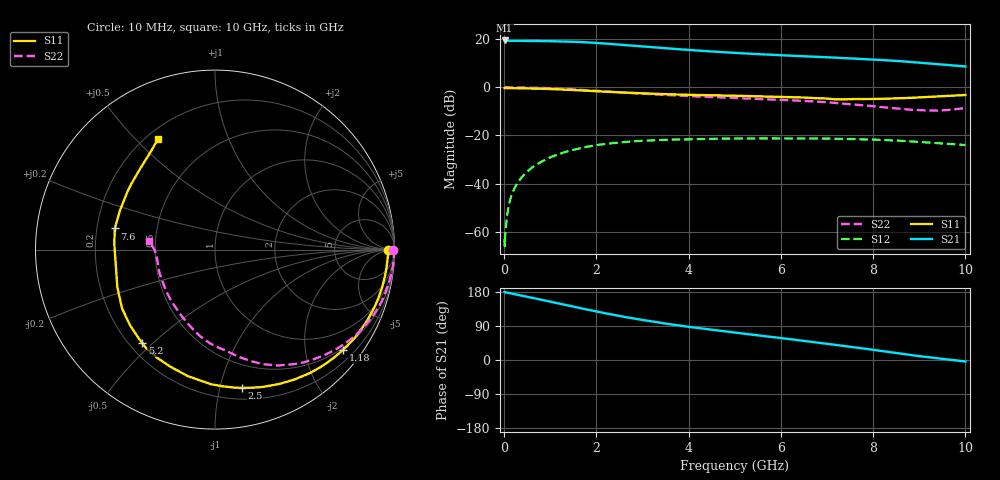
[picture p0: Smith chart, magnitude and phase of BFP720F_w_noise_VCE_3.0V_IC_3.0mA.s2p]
! Infineon Technologies  Discrete & RF Semiconductors
! BFP720F
! VCE =  3.0 V,  IC =  3.0 mA
! Common Emitter S-Parameters:  Jan 2016
# GHz  S  MA  R  50
!  f  S11  S21  S12  S22
! GHz  MAG  ANG  MAG  ANG  MAG  ANG  MAG  ANG
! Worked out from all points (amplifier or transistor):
!   233 points, 10 MHz to 10 GHz, reference 50 ohm
!   highest |S21| = 19.5 dB at 10 MHz (marker M1)
!   |S21| within 3 dB of that: start of sweep to 3.343 GHz
!   unconditionally stable (mu >= 1): 8.685 GHz to end of sweep
!   at 200 MHz: K = 0.03, MSG = 31.1 dB, |S12| = -43.0 dB
!   at 1.74 GHz: K = 0.17, MSG = 21.8 dB, |S12| = -24.9 dB
!   at 10 GHz: K = 1.18, MAG = 13.8 dB, |S12| = -24.0 dB
!   lowest NFmin = 0.40 dB at 450 MHz
!   S11 on the Smith chart (normalised r, x): 10 MHz: 51, +0; 1.18 GHz: 0.46, -2.84; 2.5 GHz: 0.29, -1.17; 5.2 GHz: 0.25, -0.46; 7.6 GHz: 0.28, +0.10; 10 GHz: 0.25, +0.58
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0.01  0.9612 0.0  9.396 179.4  0.0007 -16.7  0.9943 -0.1
0.015  0.9628 -0.3  9.268 178.6  0.0005 38.1  0.9971 -0.6
0.02  0.9644 -0.6  9.142 177.8  0.0008 83.7  1 -1.1
0.05  0.9649 -1.7  9.244 178.2  0.0016 82.2  0.9973 -1.2
0.11  0.9626 -3.5  9.248 176.7  0.0039 86.9  0.9979 -2.4
0.28  0.9584 -8.8  9.226 172.4  0.0099 83.8  0.9936 -6.1
0.8  0.9346 -25.6  9.181 159.1  0.0282 72.5  0.9709 -17.7
1.18  0.9061 -38.0  8.991 149.2  0.0408 63.8  0.9397 -26.3
1.68  0.8593 -54.7  8.695 136.0  0.0552 52.5  0.8842 -37.4
2.02  0.8265 -65.3  8.321 127.4  0.0632 45.1  0.8432 -44.5
2.5  0.7846 -79.0  7.683 116.2  0.0715 35.4  0.7872 -53.6
2.96  0.7526 -90.6  7.107 106.4  0.077 27.6  0.7394 -60.7
3.4  0.7253 -99.9  6.591 98.0  0.0803 21.1  0.7007 -66.0
4  0.6983 -110.8  5.978 87.5  0.0835 13.4  0.6563 -71.7
5.1  0.6639 -126.6  5.125 71.0  0.0863 1.9  0.5922 -80.0
5.2  0.6595 -127.9  5.061 69.5  0.0864 0.9  0.5866 -80.8
6  0.6333 -138.6  4.632 57.9  0.087 -6.4  0.549 -87.4
6.8  0.5923 -154.3  4.284 45.8  0.0862 -13.8  0.5019 -97.0
7.6  0.5705 168.1  3.938 33.4  0.0837 -21.1  0.438 -110.4
8.4  0.5842 146.8  3.589 20.1  0.0792 -28.4  0.3717 -132.3
9  0.6163 132.1  3.256 10.1  0.0733 -33.2  0.3364 -156.6
10  0.6915 117.4  2.709 -3.9  0.0631 -37.6  0.3699 172.5
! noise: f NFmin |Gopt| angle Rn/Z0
0.45  0.4  0.62  4  0.22
0.9  0.47  0.62  12  0.22
1.8  0.5  0.6  23  0.17
2.4  0.55  0.59  30  0.16
5.5  0.77  0.44  81  0.11
10  1.13  0.28  -126  0.14
